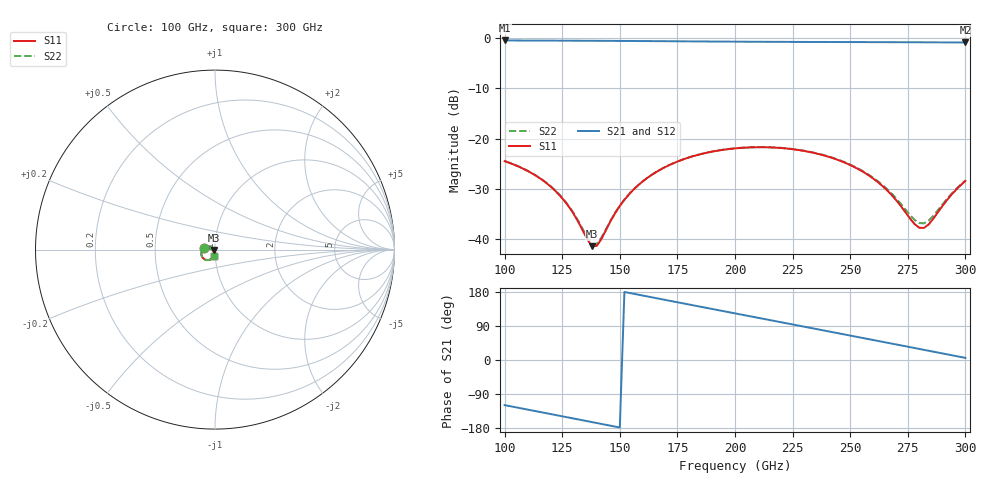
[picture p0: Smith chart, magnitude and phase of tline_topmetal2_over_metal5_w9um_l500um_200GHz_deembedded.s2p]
! Created with skrf 2.2.0 (http://scikit-rf.org).
# GHz S DB R 50.0
! Port[1] = P1
! Port[2] = P2
!freq dBS11 angS11 dBS21 angS21 dBS12 angS12 dBS22 angS22
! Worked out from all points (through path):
!   101 points, 100 GHz to 300 GHz, reference 50 ohm
!   highest |S21| = -0.48 dB at 100 GHz (marker M1); lowest = -0.9 dB at 300 GHz (marker M2)
!   group delay of S21, straight-line fit = 3.27 ps
!   lowest |S11| = -41.4 dB at 138 GHz (marker M3), VSWR 1.02, Z = 49.2 - j0.244 ohm
!   |S11| at or under -10 dB: start of sweep to end of sweep
!   |S22| runs from -40.9 to -21.7 dB; largest |S21 - S12| = 1e-14
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100  -24.48 172.2  -0.48 -119.1  -0.48 -119.1  -24.45 172.8
110  -26.43 162.0  -0.49 -130.9  -0.49 -130.9  -26.38 162.7
120  -29.54 154.2  -0.51 -142.7  -0.51 -142.7  -29.47 155.3
128  -33.60 153.7  -0.52 -152.1  -0.52 -152.1  -33.48 155.0
134  -38.34 166.6  -0.53 -159.2  -0.53 -159.2  -38.08 168.2
138  -41.38 -163.1  -0.54 -163.9  -0.54 -163.9  -40.94 -162.6
140  -41.32 -141.5  -0.55 -166.3  -0.55 -166.3  -40.92 -142.0
142  -39.99 -123.5  -0.55 -168.7  -0.55 -168.7  -39.71 -124.6
148  -34.79 -101.3  -0.56 -175.8  -0.56 -175.8  -34.71 -102.0
154  -31.07 -98.6  -0.58 177.1  -0.58 177.1  -31.04 -98.8
160  -28.49 -101.1  -0.59 170.0  -0.59 170.0  -28.46 -101.1
168  -26.06 -107.3  -0.62 160.6  -0.62 160.6  -26.04 -107.1
182  -23.47 -120.9  -0.66 144.1  -0.66 144.1  -23.44 -120.4
200  -21.94 -139.3  -0.71 123.1  -0.71 123.1  -21.91 -138.6
218  -21.80 -157.6  -0.75 102.0  -0.75 102.0  -21.76 -156.6
234  -22.81 -173.3  -0.78 83.3  -0.78 83.3  -22.76 -172.0
254  -26.18 169.9  -0.80 59.8  -0.80 59.8  -26.07 171.8
268  -31.22 167.2  -0.82 43.3  -0.82 43.3  -30.94 170.0
278  -37.02 -166.3  -0.84 31.5  -0.84 31.5  -36.18 -164.2
282  -37.75 -138.4  -0.84 26.8  -0.84 26.8  -36.85 -139.4
286  -35.96 -114.3  -0.85 22.1  -0.85 22.1  -35.39 -117.2
300  -28.41 -95.9  -0.88 5.6  -0.88 5.6  -28.33 -97.3
